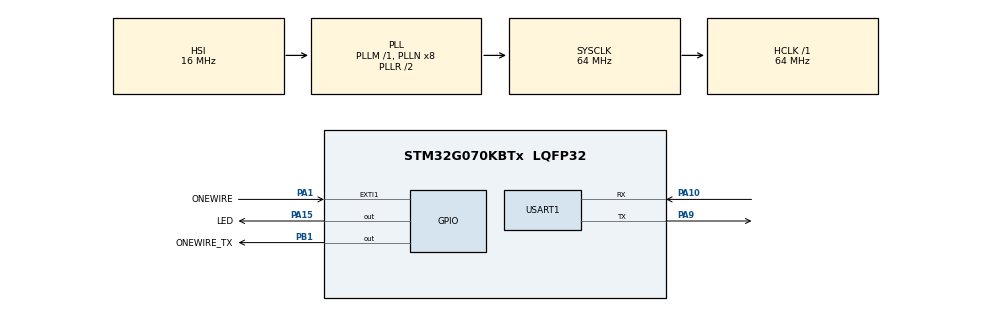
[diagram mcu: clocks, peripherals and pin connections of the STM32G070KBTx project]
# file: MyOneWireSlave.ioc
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Mcu.Family=STM32G0
Mcu.Name=STM32G070KBTx
Mcu.Package=LQFP32
NVIC.EXTI0_1_IRQn=true\:0\:0\:false\:false\:true\:true\:true\:true
NVIC.FLASH_IRQn=true\:0\:0\:false\:false\:true\:true\:true\:true
NVIC.RCC_IRQn=true\:0\:0\:false\:false\:true\:true\:false\:true
NVIC.USART1_IRQn=true\:0\:0\:false\:false\:true\:true\:true\:true
PA1.GPIO_Label=ONEWIRE
PA1.GPIO_ModeDefaultEXTI=GPIO_MODE_IT_RISING_FALLING
PA1.Signal=GPXTI1
PA10.Mode=Asynchronous
PA10.Signal=USART1_RX
PA15.GPIO_Label=LED
PA15.Signal=GPIO_Output
PA9.Mode=Asynchronous
PA9.Signal=USART1_TX
PB1.GPIO_Label=ONEWIRE_TX
PB1.GPIO_ModeDefaultOutputPP=GPIO_MODE_OUTPUT_PP
PB1.GPIO_PuPd=GPIO_NOPULL
PB1.Signal=GPIO_Output
ProjectManager.HeapSize=0x200
ProjectManager.StackSize=0x400
ProjectManager.TargetToolchain=STM32CubeIDE
RCC.ADCFreq_Value=64000000
RCC.AHBFreq_Value=64000000
RCC.CortexFreq_Value=64000000
RCC.EXTERNAL_CLOCK_VALUE=48000
RCC.HCLKFreq_Value=64000000
RCC.HSE_VALUE=8000000
RCC.HSI_VALUE=16000000
RCC.LSE_VALUE=32768
RCC.SYSCLKFreq_VALUE=64000000
RCC.SYSCLKSource=RCC_SYSCLKSOURCE_PLLCLK
RCC.VCOOutputFreq_Value=128000000
USART1.VirtualMode-Asynchronous=VM_ASYNC
board=custom

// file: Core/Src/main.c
/* USER CODE BEGIN Header */
/**
  ******************************************************************************
  * @file           : main.c
  * @brief          : Main program body
  ******************************************************************************
  * @attention
  *
  * Copyright (c) 2024 STMicroelectronics.
  * All rights reserved.
  *
  * This software is licensed under terms that can be found in the LICENSE file
  * in the root directory of this software component.
  * If no LICENSE file comes with this software, it is provided AS-IS.
  *
  ******************************************************************************
  */
/* USER CODE END Header */
#include "main.h"

/* USER CODE BEGIN Includes */

#include <stdio.h>
#include "micro_delay.h"
#include "onewire_slave.h"

/* USER CODE END Includes */

/* USER CODE BEGIN PD */

#define DEBUG_MODE

/* USER CODE END PD */

UART_HandleTypeDef huart1;

/* USER CODE BEGIN PV */
OneWire_t OneWire;
/* USER CODE END PV */

void SystemClock_Config(void);
static void MX_GPIO_Init(void);
static void MX_USART1_UART_Init(void);
/* USER CODE BEGIN PFP */

void HAL_GPIO_EXTI_Rising_Callback(uint16_t GPIO_Pin);
void HAL_GPIO_EXTI_Falling_Callback(uint16_t GPIO_Pin);

/* USER CODE END PFP */

int main(void)
{

  /* MCU Configuration--------------------------------------------------------*/

  /* Reset of all peripherals, Initializes the Flash interface and the Systick. */
  HAL_Init();

  /* Configure the system clock */
  SystemClock_Config();

  /* Initialize all configured peripherals */
  MX_GPIO_Init();
  MX_USART1_UART_Init();
  /* USER CODE BEGIN 2 */

  onewire_init(&OneWire);

  OneWire.onewire_id_to_send[0] = 0x21;
  OneWire.onewire_id_to_send[1] = 0x22;
  OneWire.onewire_id_to_send[2] = 0x23;
  OneWire.onewire_id_to_send[3] = 0x24;
  OneWire.onewire_id_to_send[4] = 0x21;
  OneWire.onewire_id_to_send[5] = 0x22;
  OneWire.onewire_id_to_send[6] = 0x23;
  OneWire.onewire_id_to_send[7] = 0x24;

  OneWire.ROM_ID[0] = 0x51;
  OneWire.ROM_ID[1] = 0x52;
  OneWire.ROM_ID[2] = 0x53;
  OneWire.ROM_ID[3] = 0x54;
  OneWire.ROM_ID[4] = 0x55;
  OneWire.ROM_ID[5] = 0x56;
  OneWire.ROM_ID[6] = 0x57;
  OneWire.ROM_ID[7] = 0x58;

  printf("System init complete \r\n");

  /* USER CODE END 2 */

  /* Infinite loop */
  /* USER CODE BEGIN WHILE */
  while (1)
  {

	  while(onewire_communication(&OneWire));

    /* USER CODE END WHILE */

  }
}

void SystemClock_Config(void)
{
  RCC_OscInitTypeDef RCC_OscInitStruct = {0};
  RCC_ClkInitTypeDef RCC_ClkInitStruct = {0};

  /** Configure the main internal regulator output voltage
  */
  HAL_PWREx_ControlVoltageScaling(PWR_REGULATOR_VOLTAGE_SCALE1);

  /** Initializes the RCC Oscillators according to the specified parameters
  * in the RCC_OscInitTypeDef structure.
  */
  RCC_OscInitStruct.OscillatorType = RCC_OSCILLATORTYPE_HSI;
  RCC_OscInitStruct.HSIState = RCC_HSI_ON;
  RCC_OscInitStruct.HSIDiv = RCC_HSI_DIV1;
  RCC_OscInitStruct.HSICalibrationValue = RCC_HSICALIBRATION_DEFAULT;
  RCC_OscInitStruct.PLL.PLLState = RCC_PLL_ON;
  RCC_OscInitStruct.PLL.PLLSource = RCC_PLLSOURCE_HSI;
  RCC_OscInitStruct.PLL.PLLM = RCC_PLLM_DIV1;
  RCC_OscInitStruct.PLL.PLLN = 8;
  RCC_OscInitStruct.PLL.PLLP = RCC_PLLP_DIV2;
  RCC_OscInitStruct.PLL.PLLR = RCC_PLLR_DIV2;
  if (HAL_RCC_OscConfig(&RCC_OscInitStruct) != HAL_OK)
  {
    Error_Handler();
  }

  /** Initializes the CPU, AHB and APB buses clocks
  */
  RCC_ClkInitStruct.ClockType = RCC_CLOCKTYPE_HCLK|RCC_CLOCKTYPE_SYSCLK
                              |RCC_CLOCKTYPE_PCLK1;
  RCC_ClkInitStruct.SYSCLKSource = RCC_SYSCLKSOURCE_PLLCLK;
  RCC_ClkInitStruct.AHBCLKDivider = RCC_SYSCLK_DIV1;
  RCC_ClkInitStruct.APB1CLKDivider = RCC_HCLK_DIV1;

  if (HAL_RCC_ClockConfig(&RCC_ClkInitStruct, FLASH_LATENCY_2) != HAL_OK)
  {
    Error_Handler();
  }
}

static void MX_USART1_UART_Init(void)
{

  huart1.Instance = USART1;
  huart1.Init.BaudRate = 115200;
  huart1.Init.WordLength = UART_WORDLENGTH_8B;
  huart1.Init.StopBits = UART_STOPBITS_1;
  huart1.Init.Parity = UART_PARITY_NONE;
  huart1.Init.Mode = UART_MODE_TX_RX;
  huart1.Init.HwFlowCtl = UART_HWCONTROL_NONE;
  huart1.Init.OverSampling = UART_OVERSAMPLING_16;
  huart1.Init.OneBitSampling = UART_ONE_BIT_SAMPLE_DISABLE;
  huart1.Init.ClockPrescaler = UART_PRESCALER_DIV1;
  huart1.AdvancedInit.AdvFeatureInit = UART_ADVFEATURE_NO_INIT;
  if (HAL_UART_Init(&huart1) != HAL_OK)
  {
    Error_Handler();
  }
  if (HAL_UARTEx_SetTxFifoThreshold(&huart1, UART_TXFIFO_THRESHOLD_1_8) != HAL_OK)
  {
    Error_Handler();
  }
  if (HAL_UARTEx_SetRxFifoThreshold(&huart1, UART_RXFIFO_THRESHOLD_1_8) != HAL_OK)
  {
    Error_Handler();
  }
  if (HAL_UARTEx_DisableFifoMode(&huart1) != HAL_OK)
  {
    Error_Handler();
  }

}

static void MX_GPIO_Init(void)
{
  GPIO_InitTypeDef GPIO_InitStruct = {0};

  /* GPIO Ports Clock Enable */
  __HAL_RCC_GPIOA_CLK_ENABLE();
  __HAL_RCC_GPIOB_CLK_ENABLE();

  /*Configure GPIO pin Output Level */
  HAL_GPIO_WritePin(ONEWIRE_TX_GPIO_Port, ONEWIRE_TX_Pin, GPIO_PIN_RESET);

  /*Configure GPIO pin Output Level */
  HAL_GPIO_WritePin(LED_GPIO_Port, LED_Pin, GPIO_PIN_RESET);

  /*Configure GPIO pin : ONEWIRE_Pin */
  GPIO_InitStruct.Pin = ONEWIRE_Pin;
  GPIO_InitStruct.Mode = GPIO_MODE_IT_RISING_FALLING;
  GPIO_InitStruct.Pull = GPIO_NOPULL;
  HAL_GPIO_Init(ONEWIRE_GPIO_Port, &GPIO_InitStruct);

  /*Configure GPIO pin : ONEWIRE_TX_Pin */
  GPIO_InitStruct.Pin = ONEWIRE_TX_Pin;
  GPIO_InitStruct.Mode = GPIO_MODE_OUTPUT_PP;
  GPIO_InitStruct.Pull = GPIO_NOPULL;
  GPIO_InitStruct.Speed = GPIO_SPEED_FREQ_LOW;
  HAL_GPIO_Init(ONEWIRE_TX_GPIO_Port, &GPIO_InitStruct);

  /*Configure GPIO pin : LED_Pin */
  GPIO_InitStruct.Pin = LED_Pin;
  GPIO_InitStruct.Mode = GPIO_MODE_OUTPUT_PP;
  GPIO_InitStruct.Pull = GPIO_NOPULL;
  GPIO_InitStruct.Speed = GPIO_SPEED_FREQ_LOW;
  HAL_GPIO_Init(LED_GPIO_Port, &GPIO_InitStruct);

  /* EXTI interrupt init*/
  HAL_NVIC_SetPriority(EXTI0_1_IRQn, 0, 0);
  HAL_NVIC_EnableIRQ(EXTI0_1_IRQn);

}

/* USER CODE BEGIN 4 */

void HAL_GPIO_EXTI_Rising_Callback(uint16_t GPIO_Pin)
{

	switch(GPIO_Pin)
	{
		case ONEWIRE_Pin:

			onewire_exti_rising_handler(&OneWire);

			break;

	}// end switch(GPIO_Pin)
}// end HAL_GPIO_EXTI_Rising_Callback

void HAL_GPIO_EXTI_Falling_Callback(uint16_t GPIO_Pin)
{
	switch(GPIO_Pin)
	{

		case ONEWIRE_Pin:

			onewire_exti_falling_handler(&OneWire);

			break;

	}// end switch(GPIO_Pin)
}// end HAL_GPIO_EXTI_Falling_Callback

#ifdef DEBUG_MODE

#ifdef __GNUC__
  /* With GCC, small printf (option LD Linker->Libraries->Small printf
     set to 'Yes') calls __io_putchar() */
int __io_putchar(int ch)
#else
int fputc(int ch, FILE *f)
#endif /* __GNUC__ */
{
  /* Place your implementation of fputc here */
  /* e.g. write a character to the UART3 and Loop until the end of transmission */
  HAL_UART_Transmit(&huart1, (uint8_t *)&ch, 1, HAL_MAX_DELAY);

  return ch;
}

#endif // DEBUG_MODE

/* USER CODE END 4 */

void Error_Handler(void)
{
  __disable_irq();
  while (1)
  {
  }
}
